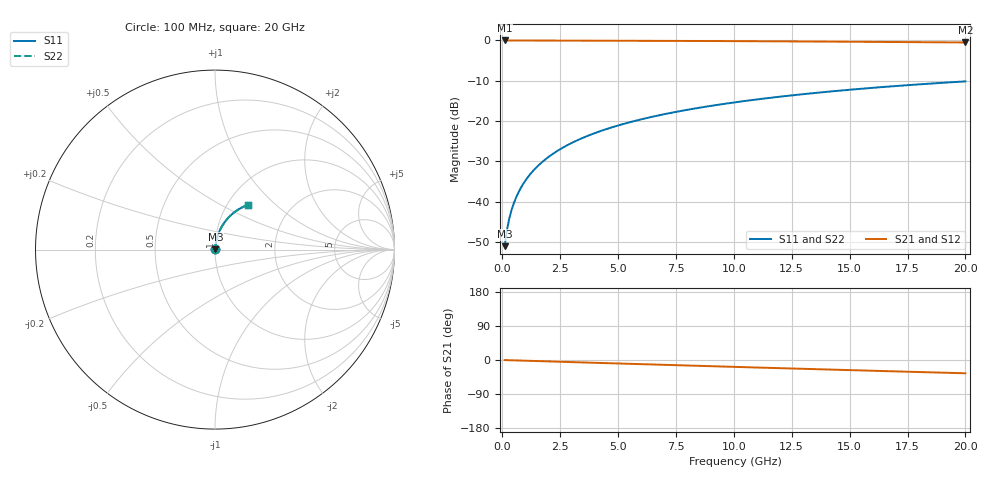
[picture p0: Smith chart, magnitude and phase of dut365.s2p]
! Touchstone file exported from HFSS 2026.1.0
!  File:  C:/ffzhzh/LocalFiles/Ansys_Project_Files/temp_train_BSMRDL_365_1783011686_4048.aedt
!  Generated:  01:02:45 AM Jul  3, 2026
!  Design:  BSMRDL
!  Project:  temp_train_BSMRDL_365_1783011686_4048
! Variables:
!  h_bsmrdl = 3.65um
!  h_ox = 20um
!  h_rdl = 5um
!  h_sub = 80um
!  h_tmrdl = 5um
!  h_tsv = 80um
!  h_via = 3um
!  l_bsmrdl = 498.8um
!  l_sub = 898.8um
!  l_tmrdl = 200um
!  m_sub = 200um
!  pitch = 55.67um
!  r_tsv = 6um
!  s_tmrdl = 10um
!  w_bsmrdl = 28.24um
!  w_sub = 500um
!  w_tmrdl = 12um
!  x_tsv_center1 = 206um
!  x_tsv_center2 = 733.04um
!  x_tsv_center3 = 945.04um
!  x_tsv_center4 = 1472.08um
!  x_tsv_center5 = 1684.08um
!  x_tsv_center6 = 2211.12um
# GHz S MA R 50.000000
! Terminal data exported
! Port[1] = BSM_RDL1_1_T1
! Port[2] = BSM_RDL1_1_T2
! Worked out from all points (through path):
!   200 points, 100 MHz to 20 GHz, reference 50 ohm
!   highest |S21| = -0.02 dB at 100 MHz (marker M1); lowest = -0.5 dB at 20 GHz (marker M2)
!   group delay of S21, straight-line fit = 4.87 ps
!   lowest |S11| = -51.1 dB at 100 MHz (marker M3), VSWR 1.01, Z = 50.2 + j0.199 ohm
!   |S11| at or under -10 dB: start of sweep to end of sweep
!   |S22| runs from -51.1 to -10.2 dB; largest |S21 - S12| = 2.4e-15
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0.1  0.002793 45.2  0.998 -0.2  0.998 -0.2  0.002793 45.2
! Gamma 0 0 0 0
! Port Impedance 50 0 50 0
0.2  0.00442 61.3  0.9979 -0.4  0.9979 -0.4  0.00442 61.3
0.3  0.006132 68.1  0.9978 -0.6  0.9978 -0.6  0.006131 68.1
0.4  0.007845 71.9  0.9976 -0.8  0.9976 -0.8  0.007844 71.9
0.5  0.00956 74.4  0.9976 -0.9  0.9976 -0.9  0.009559 74.4
0.6  0.01128 76.2  0.9975 -1.1  0.9975 -1.1  0.01128 76.2
0.8  0.01475 78.5  0.9974 -1.5  0.9974 -1.5  0.01475 78.5
1.1  0.01999 80.4  0.9972 -2.1  0.9972 -2.1  0.01999 80.4
1.5  0.02703 81.4  0.9969 -2.8  0.9969 -2.8  0.02703 81.4
1.8  0.03232 81.6  0.9967 -3.3  0.9967 -3.3  0.03231 81.7
2.1  0.0376 81.7  0.9964 -3.9  0.9964 -3.9  0.0376 81.7
2.7  0.04814 81.3  0.9957 -5.0  0.9957 -5.0  0.04814 81.3
3.5  0.0621 80.4  0.9947 -6.5  0.9947 -6.5  0.0621 80.4
4.2  0.0742 79.4  0.9935 -7.7  0.9935 -7.7  0.0742 79.4
5  0.08789 78.1  0.992 -9.2  0.992 -9.2  0.08789 78.1
5.9  0.1031 76.6  0.9902 -10.8  0.9902 -10.8  0.1031 76.7
6.8  0.1181 75.1  0.9881 -12.4  0.9881 -12.4  0.1181 75.2
8.3  0.1426 72.6  0.9842 -15.1  0.9842 -15.1  0.1426 72.7
10.1  0.1711 69.6  0.9791 -18.3  0.9791 -18.3  0.1711 69.7
13.4  0.2211 64.1  0.9681 -24.0  0.9681 -24.0  0.221 64.2
16.7  0.2675 58.7  0.9558 -29.6  0.9558 -29.6  0.2674 58.8
20  0.31 53.4  0.9425 -35.0  0.9425 -35.0  0.31 53.5
